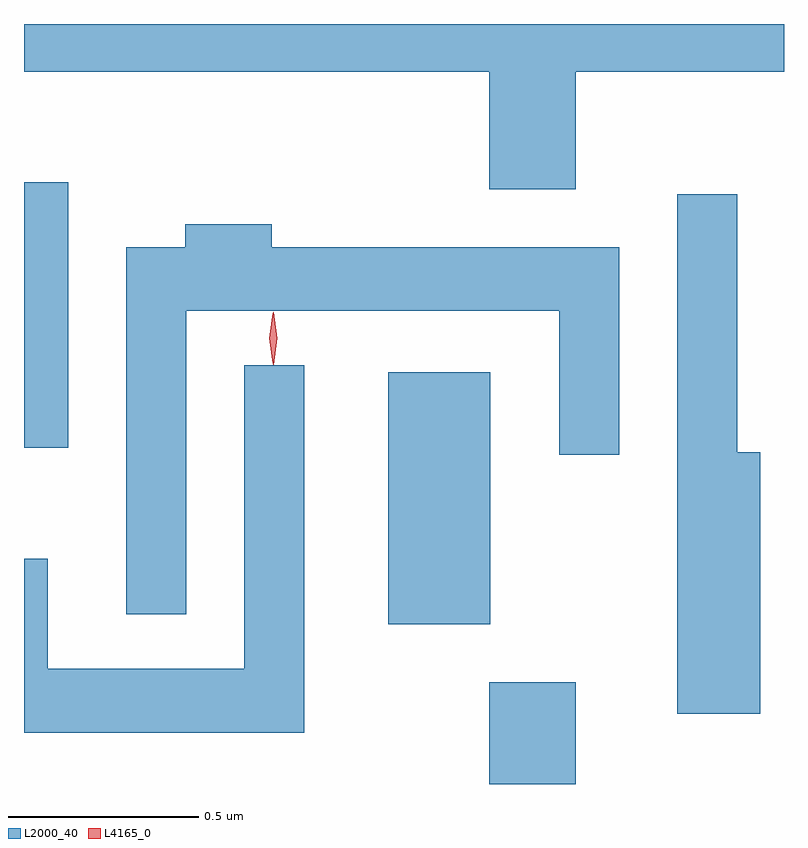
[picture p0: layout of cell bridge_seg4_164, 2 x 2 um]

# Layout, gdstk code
import gdstk
lib = gdstk.Library(unit=1e-6, precision=1e-09)
def R(c, l, rs):  # rectangles x0, y0, x1, y1
    for r in rs: c.add(gdstk.rectangle(r[:2], r[2:], *l))
def P(c, l, *ps):  # polygons
    for p in ps: c.add(gdstk.Polygon(p, *l))
L2000_40 = (2000, 40)
L4165_0 = (4165, 0)

bridge_seg4_164 = lib.new_cell('bridge_seg4_164')
R(bridge_seg4_164, L2000_40, [(952.191,1301.741,952.419,1302.009), (951.926,1302.161,952.194,1302.824), (950.967,1302.626,951.084,1303.324)])
P(bridge_seg4_164, L2000_40, [(952.419,1303.616),(952.967,1303.616),(952.967,1303.741),(950.967,1303.741),(950.967,1303.616),(952.191,1303.616),(952.191,1303.306),(952.419,1303.306)],
  [(952.904,1302.614),(952.844,1302.614),(952.844,1303.293),(952.686,1303.293),(952.686,1301.926),(952.904,1301.926)],
  [(951.394,1302.986),(952.376,1302.986),(952.376,1302.608),(952.534,1302.608),(952.534,1303.154),(951.619,1303.154),(951.619,1303.214),(951.391,1303.214),(951.391,1303.154),(951.236,1303.154),(951.236,1302.188),(951.394,1302.188)],
  [(951.704,1302.843),(951.546,1302.843),(951.546,1302.044),(951.029,1302.044),(951.029,1302.334),(950.967,1302.334),(950.967,1301.876),(951.704,1301.876)])
P(bridge_seg4_164, L4165_0, [(951.623,1302.847),(951.622,1302.848),(951.613,1302.914),(951.622,1302.98),(951.623,1302.981),(951.623,1302.98),(951.633,1302.914),(951.623,1302.848)],
  [(951.623,1302.844),(951.614,1302.914),(951.623,1302.983),(951.624,1302.983),(951.624,1302.983),(951.634,1302.914),(951.624,1302.844),(951.624,1302.844)])

lib.write_gds('bridge_seg4_164.gds')
